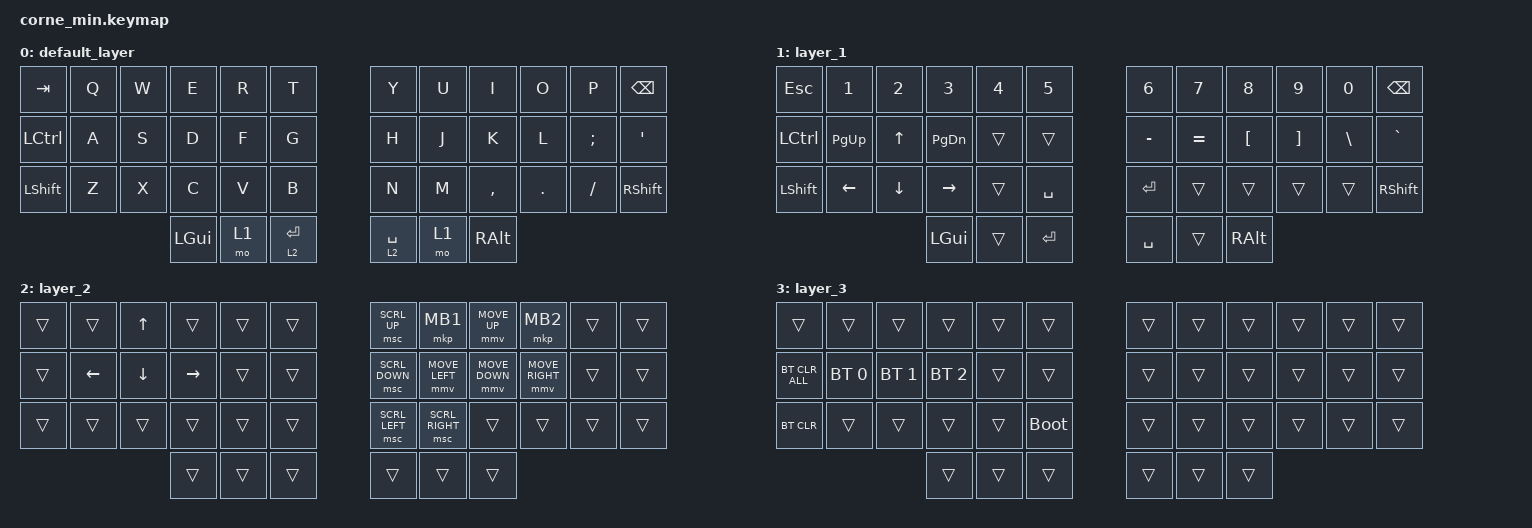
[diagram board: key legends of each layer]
/*
 * Copyright (c) 2020 The ZMK Contributors
 *
 * SPDX-License-Identifier: MIT
 */

#include <behaviors.dtsi>
#include <dt-bindings/zmk/bt.h>
#include <dt-bindings/zmk/keys.h>
#include <dt-bindings/zmk/pointing.h>

/ {
    keymap {
        compatible = "zmk,keymap";

        default_layer {
            // -----------------------------------------------------------------------------------------
            // |  TAB |  Q  |  W  |  E  |  R  |  T  |   |  Y  |  U   |  I  |  O  |  P  | BKSP |
            // | CTRL |  A  |  S  |  D  |  F  |  G  |   |  H  |  J   |  K  |  L  |  ;  |  '   |
            // | SHFT |  Z  |  X  |  C  |  V  |  B  |   |  N  |  M   |  ,  |  .  |  /  | ESC  |
            //                    | GUI | LWR | SPC |   | ENT | RSE  | ALT |

            bindings = <
&kp TAB    &kp Q  &kp W  &kp E     &kp R  &kp T          &kp Y        &kp U  &kp I      &kp O    &kp P     &kp BSPC
&kp LCTRL  &kp A  &kp S  &kp D     &kp F  &kp G          &kp H        &kp J  &kp K      &kp L    &kp SEMI  &kp SQT
&kp LSHFT  &kp Z  &kp X  &kp C     &kp V  &kp B          &kp N        &kp M  &kp COMMA  &kp DOT  &kp FSLH  &kp RIGHT_SHIFT
                         &kp LGUI  &mo 1  &lt 2 ENTER    &lt 2 SPACE  &mo 1  &kp RALT
            >;
        };

        layer_1 {
            // -----------------------------------------------------------------------------------------
            // |  TAB |  1  |  2  |  3  |  4  |  5  |   |  6  |  7  |  8  |  9  |  0  | BKSP |
            // | BTCLR| BT1 | BT2 | BT3 | BT4 | BT5 |   | LFT | DWN |  UP | RGT |     |      |
            // | SHFT |     |     |     |     |     |   |     |     |     |     |     |      |
            //                    | GUI |     | SPC |   | ENT |     | ALT |

            bindings = <
&kp ESCAPE        &kp N1     &kp N2        &kp N3         &kp N4  &kp N5       &kp N6     &kp N7     &kp N8            &kp N9             &kp N0         &kp BSPC
&kp LEFT_CONTROL  &kp PG_UP  &kp UP_ARROW  &kp PAGE_DOWN  &trans  &trans       &kp MINUS  &kp EQUAL  &kp LEFT_BRACKET  &kp RIGHT_BRACKET  &kp BACKSLASH  &kp GRAVE
&kp LSHFT         &kp LEFT   &kp DOWN      &kp RIGHT      &trans  &kp SPACE    &kp ENTER  &trans     &trans            &trans             &trans         &kp RIGHT_SHIFT
                                           &kp LGUI       &trans  &kp ENTER    &kp SPACE  &trans     &kp RALT
            >;
        };

        layer_2 {
            bindings = <
&trans  &trans    &kp UP_ARROW  &trans     &trans  &trans    &msc SCRL_UP    &mkp MB1         &mmv MOVE_UP    &mkp MB2         &trans  &trans
&trans  &kp LEFT  &kp DOWN      &kp RIGHT  &trans  &trans    &msc SCRL_DOWN  &mmv MOVE_LEFT   &mmv MOVE_DOWN  &mmv MOVE_RIGHT  &trans  &trans
&trans  &trans    &trans        &trans     &trans  &trans    &msc SCRL_LEFT  &msc SCRL_RIGHT  &trans          &trans           &trans  &trans
                                &trans     &trans  &trans    &trans          &trans           &trans
            >;
        };

        layer_3 {
            bindings = <
&trans          &trans        &trans        &trans        &trans  &trans         &trans  &trans  &trans  &trans  &trans  &trans
&bt BT_CLR_ALL  &bt BT_SEL 0  &bt BT_SEL 1  &bt BT_SEL 2  &trans  &trans         &trans  &trans  &trans  &trans  &trans  &trans
&bt BT_CLR      &trans        &trans        &trans        &trans  &bootloader    &trans  &trans  &trans  &trans  &trans  &trans
                                            &trans        &trans  &trans         &trans  &trans  &trans
            >;
        };
    };

    conditional_layers {
        compatible = "zmk,conditional-layers";

        BTlayer {
            if-layers = <1 2>;
            then-layer = <3>;
        };
    };
};
